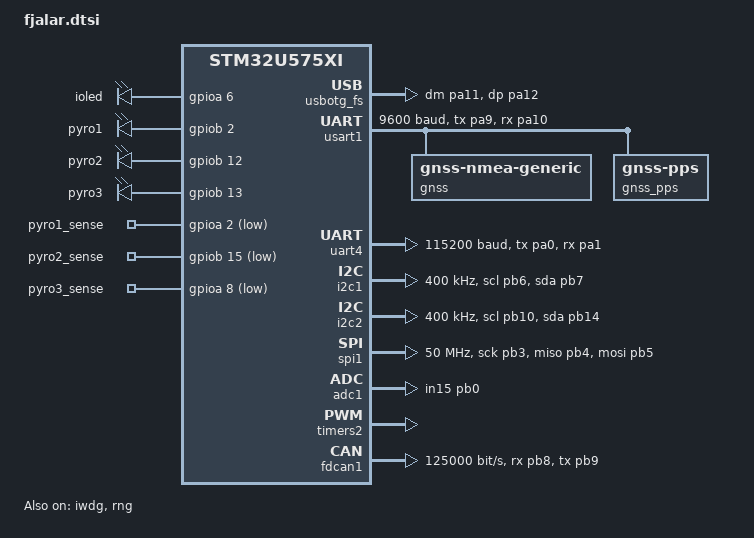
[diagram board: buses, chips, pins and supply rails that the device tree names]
#include <st/u5/stm32u575Xi.dtsi>
#include <st/u5/stm32u575zitxq-pinctrl.dtsi>

/ {
	leds {
		compatible = "gpio-leds";
		ioled: io_led {
			gpios = <&gpioa 6 GPIO_ACTIVE_HIGH>;
		};
	};

    pyros {
        compatible = "gpio-leds";
        pyro1: pyro_1 {
            gpios = <&gpiob 2 GPIO_ACTIVE_HIGH>;
        };
        pyro2: pyro_2 {
            gpios = <&gpiob 12 GPIO_ACTIVE_HIGH>;
        };
        pyro3: pyro_3 {
            gpios = <&gpiob 13 GPIO_ACTIVE_HIGH>;
        };
    };

	pyro_sense {
		compatible = "gpio-keys";
		pyro1_sense: pyro1_sense {
			gpios = <&gpioa 2 GPIO_ACTIVE_LOW>;
		};
		pyro2_sense: pyro2_sense {
			gpios = <&gpiob 15 GPIO_ACTIVE_LOW>;
		};
		pyro3_sense: pyro3_sense {
			gpios = <&gpioa 8 GPIO_ACTIVE_LOW>;
		};
	};
};

&usbotg_fs {
	pinctrl-0 = <&usb_otg_fs_dm_pa11 &usb_otg_fs_dp_pa12>;
	pinctrl-names = "default";
	status = "okay";
};

&usart1 {
	pinctrl-0 = <&usart1_tx_pa9 &usart1_rx_pa10>;
	pinctrl-names = "default";
	current-speed = <9600>;
	status = "okay";
	gnss: gnss-nmea-generic {
			compatible = "gnss-nmea-generic";
	};
	gnss_pps: gnss-pss {
		compatible = "gnss-pps";
	};
};

&gpdma1 {
	status = "okay";
};

// &clk_hsi48 {
// 	status = "okay";
// };

// &clk_hse {
// 	status = "okay";
// 	clock-frequency = <DT_FREQ_M(48)>;
// };

// &clk_msis {
// 	status = "okay";
// 	msi-range = <4>;
// 	msi-pll-mode;
// };

// &pll1 {
// 	div-m = <3>;
// 	mul-n = <10>;
// 	div-q = <2>;
// 	div-r = <1>;
// 	clocks = <&clk_hse>;
// 	status = "okay";
// };

// &rcc {
// 	clocks = <&pll1>;
// 	clock-frequency = <DT_FREQ_M(160)>;
// 	ahb-prescaler = <1>;
// 	apb1-prescaler = <1>;
// 	apb2-prescaler = <1>;
// 	apb3-prescaler = <1>;
// };

&clk_hsi48 {
	status = "okay";
};

&clk_lse {
	status = "okay";
};

&clk_msis {
	status = "okay";
	msi-range = <4>;
	msi-pll-mode;
};

&pll1 {
	div-m = <1>;
	mul-n = <80>;
	div-q = <2>;
	div-r = <2>;
	clocks = <&clk_msis>;
	status = "okay";
};

&rcc {
	clocks = <&pll1>;
	clock-frequency = <DT_FREQ_M(160)>;
	ahb-prescaler = <1>;
	apb1-prescaler = <1>;
	apb2-prescaler = <1>;
	apb3-prescaler = <1>;
};

&uart4 {
    pinctrl-0 = <&uart4_tx_pa0 &uart4_rx_pa1>;
	pinctrl-names = "default";
	current-speed = <115200>;
	status = "okay";
};

&i2c1 {
	pinctrl-0 = <&i2c1_scl_pb6 &i2c1_sda_pb7>;
	pinctrl-names = "default";
	status = "okay";
	clock-frequency = <I2C_BITRATE_FAST>;
};

&i2c2 {
	pinctrl-0 = <&i2c2_scl_pb10 &i2c2_sda_pb14>;
	pinctrl-names = "default";
	status = "okay";
	clock-frequency = <I2C_BITRATE_FAST>;
};

&spi1 {
	pinctrl-0 = <&spi1_sck_pb3
			&spi1_miso_pb4 &spi1_mosi_pb5>;
	pinctrl-names = "default";
	cs-gpios = <&gpioc 13 GPIO_ACTIVE_LOW>, <&gpioa 15 GPIO_ACTIVE_LOW>;
	clock-frequency = <50000000>;
	status = "okay";
};

&adc1 {
	pinctrl-0 = <&adc1_in15_pb0>;
	pinctrl-names = "default";
};

&timers2 {
	st,prescaler = <1000>;
	status = "okay";

	pwm2: pwm {
		status = "okay";
		pinctrl-0 = <&tim2_ch4_pa3>;
		pinctrl-names = "default";
	};
};

&iwdg {
	status = "okay";
};

&rng {
	status = "okay";
};

&fdcan1 {
	clocks = <&rcc STM32_CLOCK_BUS_APB1_2 0x00000200>,
		 <&rcc STM32_SRC_PLL1_Q FDCAN1_SEL(1)>;
	pinctrl-0 = <&fdcan1_rx_pb8 &fdcan1_tx_pb9>;
	pinctrl-names = "default";
	bus-speed = <125000>;
	bus-speed-data = <1000000>;
	status = "okay";
};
